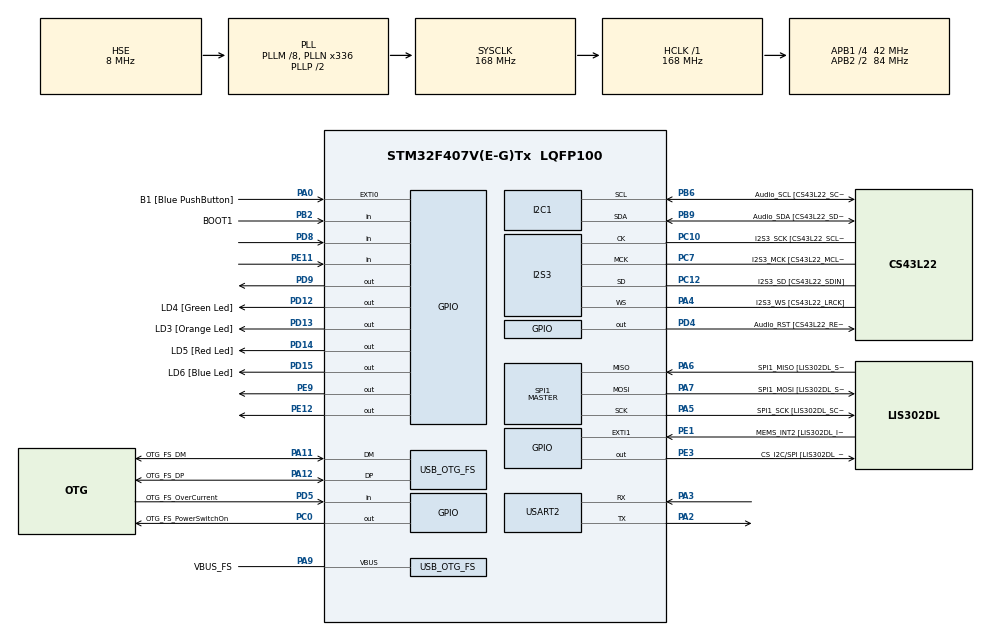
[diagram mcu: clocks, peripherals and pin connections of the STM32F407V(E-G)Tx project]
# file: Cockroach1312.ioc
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I2S3.AudioFreq-Half_Duplex_Master=I2S_AUDIOFREQ_96K
I2S3.ErrorAudioFreq=-2.34 %
I2S3.ErrorAudioFreq-Half_Duplex_Master=0.8 %
I2S3.FullDuplexMode=I2S_FULLDUPLEXMODE_DISABLE
I2S3.Instance=SPI$Index
I2S3.RealAudioFreq=93.75 KHz
I2S3.RealAudioFreq-Half_Duplex_Master=96.774 KHz
I2S3.VirtualMode=I2S_MODE_MASTER
Mcu.Family=STM32F4
Mcu.Name=STM32F407V(E-G)Tx
Mcu.Package=LQFP100
NVIC.OTG_FS_IRQn=true\:0\:0\:false\:false\:true\:true
NVIC.PriorityGroup=NVIC_PRIORITYGROUP_0
NVIC.USART2_IRQn=true\:0\:0\:false\:false\:true\:true
PA0-WKUP.GPIO_Label=B1 [Blue PushButton]
PA0-WKUP.GPIO_ModeDefaultEXTI=GPIO_MODE_EVT_RISING
PA0-WKUP.GPIO_PuPd=GPIO_NOPULL
PA0-WKUP.Signal=GPXTI0
PA10.GPIO_Label=OTG_FS_ID
PA10.GPIO_Mode=GPIO_MODE_AF_PP
PA10.GPIO_PuPd=GPIO_NOPULL
PA10.GPIO_Speed=GPIO_SPEED_FREQ_LOW
PA10.Signal=USB_OTG_FS_ID
PA11.GPIO_Label=OTG_FS_DM
PA11.GPIO_Mode=GPIO_MODE_AF_PP
PA11.GPIO_PuPd=GPIO_NOPULL
PA11.GPIO_Speed=GPIO_SPEED_FREQ_LOW
PA11.Mode=Host_Only
PA11.Signal=USB_OTG_FS_DM
PA12.GPIO_Label=OTG_FS_DP
PA12.GPIO_Mode=GPIO_MODE_AF_PP
PA12.GPIO_PuPd=GPIO_NOPULL
PA12.GPIO_Speed=GPIO_SPEED_FREQ_LOW
PA12.Mode=Host_Only
PA12.Signal=USB_OTG_FS_DP
PA13.GPIO_Label=SWDIO
PA13.Mode=Serial_Wire
PA13.Signal=SYS_JTMS-SWDIO
PA14.GPIO_Label=SWCLK
PA14.Mode=Serial_Wire
PA14.Signal=SYS_JTCK-SWCLK
PA2.Mode=Asynchronous
PA2.Signal=USART2_TX
PA3.Mode=Asynchronous
PA3.Signal=USART2_RX
PA4.GPIO_Label=I2S3_WS [CS43L22_LRCK]
PA4.GPIO_Mode=GPIO_MODE_AF_PP
PA4.GPIO_PuPd=GPIO_NOPULL
PA4.GPIO_Speed=GPIO_SPEED_FREQ_LOW
PA4.Mode=Half_Duplex_Master
PA4.Signal=I2S3_WS
PA5.GPIO_Label=SPI1_SCK [LIS302DL_SCL/SPC]
PA5.GPIO_Mode=GPIO_MODE_AF_PP
PA5.GPIO_PuPd=GPIO_NOPULL
PA5.GPIO_Speed=GPIO_SPEED_FREQ_LOW
PA5.Mode=Full_Duplex_Master
PA5.Signal=SPI1_SCK
PA6.GPIO_Label=SPI1_MISO [LIS302DL_SDO]
PA6.GPIO_Mode=GPIO_MODE_AF_PP
PA6.GPIO_PuPd=GPIO_NOPULL
PA6.GPIO_Speed=GPIO_SPEED_FREQ_LOW
PA6.Mode=Full_Duplex_Master
PA6.Signal=SPI1_MISO
PA7.GPIO_Label=SPI1_MOSI [LIS302DL_SDA/SDI/SDO]
PA7.GPIO_Mode=GPIO_MODE_AF_PP
PA7.GPIO_PuPd=GPIO_NOPULL
PA7.GPIO_Speed=GPIO_SPEED_FREQ_LOW
PA7.Mode=Full_Duplex_Master
PA7.Signal=SPI1_MOSI
PA9.GPIO_Label=VBUS_FS
PA9.GPIO_Mode=GPIO_MODE_INPUT
PA9.GPIO_PuPd=GPIO_NOPULL
PA9.Mode=Activate_VBUS
PA9.Signal=USB_OTG_FS_VBUS
PB10.GPIO_Label=CLK_IN [MP45DT02_CLK]
PB10.GPIO_Mode=GPIO_MODE_AF_PP
PB10.GPIO_PuPd=GPIO_NOPULL
PB10.GPIO_Speed=GPIO_SPEED_FREQ_LOW
PB10.Signal=I2S2_CK
PB2.GPIO_Label=BOOT1
PB2.GPIO_Mode=GPIO_MODE_INPUT
PB2.GPIO_PuPd=GPIO_NOPULL
PB2.Signal=GPIO_Input
PB3.GPIO_Label=SWO
PB3.Signal=SYS_JTDO-SWO
PB6.GPIO_Label=Audio_SCL [CS43L22_SCL]
PB6.GPIO_Mode=GPIO_MODE_AF_OD
PB6.GPIO_PuPd=GPIO_NOPULL
PB6.GPIO_Speed=GPIO_SPEED_FREQ_LOW
PB6.Mode=I2C
PB6.Signal=I2C1_SCL
PB9.GPIO_Label=Audio_SDA [CS43L22_SDA]
PB9.GPIO_Mode=GPIO_MODE_AF_OD
PB9.GPIO_PuPd=GPIO_NOPULL
PB9.GPIO_Speed=GPIO_SPEED_FREQ_LOW
PB9.Mode=I2C
PB9.Signal=I2C1_SDA
PC0.GPIO_Label=OTG_FS_PowerSwitchOn
PC0.GPIO_PuPd=GPIO_NOPULL
PC0.GPIO_Speed=GPIO_SPEED_FREQ_LOW
PC0.PinState=GPIO_PIN_SET
PC0.Signal=GPIO_Output
PC10.GPIO_Label=I2S3_SCK [CS43L22_SCLK]
PC10.GPIO_Mode=GPIO_MODE_AF_PP
PC10.GPIO_PuPd=GPIO_NOPULL
PC10.GPIO_Speed=GPIO_SPEED_FREQ_LOW
PC10.Mode=Half_Duplex_Master
PC10.Signal=I2S3_CK
PC12.GPIO_Label=I2S3_SD [CS43L22_SDIN]
PC12.GPIO_Mode=GPIO_MODE_AF_PP
PC12.GPIO_PuPd=GPIO_NOPULL
PC12.GPIO_Speed=GPIO_SPEED_FREQ_LOW
PC12.Mode=Half_Duplex_Master
PC12.Signal=I2S3_SD
PC14-OSC32_IN.GPIO_Label=PC14-OSC32_IN
PC14-OSC32_IN.Mode=LSE-External-Oscillator
PC14-OSC32_IN.Signal=RCC_OSC32_IN
PC15-OSC32_OUT.GPIO_Label=PC15-OSC32_OUT
PC15-OSC32_OUT.Mode=LSE-External-Oscillator
PC15-OSC32_OUT.Signal=RCC_OSC32_OUT
PC3.GPIO_Label=PDM_OUT [MP45DT02_DOUT]
PC3.GPIO_Mode=GPIO_MODE_AF_PP
PC3.GPIO_PuPd=GPIO_NOPULL
PC3.GPIO_Speed=GPIO_SPEED_FREQ_LOW
PC3.Signal=I2S2_SD
PC7.GPIO_Label=I2S3_MCK [CS43L22_MCLK]
PC7.GPIO_Mode=GPIO_MODE_AF_PP
PC7.GPIO_PuPd=GPIO_NOPULL
PC7.GPIO_Speed=GPIO_SPEED_FREQ_LOW
PC7.Mode=Master_Clock_Activated
PC7.Signal=I2S3_MCK
PD12.GPIO_Label=LD4 [Green Led]
PD12.GPIO_PuPd=GPIO_NOPULL
PD12.GPIO_Speed=GPIO_SPEED_FREQ_LOW
PD12.Signal=GPIO_Output
PD13.GPIO_Label=LD3 [Orange Led]
PD13.GPIO_PuPd=GPIO_NOPULL
PD13.GPIO_Speed=GPIO_SPEED_FREQ_LOW
PD13.Signal=GPIO_Output
PD14.GPIO_Label=LD5 [Red Led]
PD14.GPIO_PuPd=GPIO_NOPULL
PD14.GPIO_Speed=GPIO_SPEED_FREQ_LOW
PD14.Signal=GPIO_Output
PD15.GPIO_Label=LD6 [Blue Led]
PD15.GPIO_PuPd=GPIO_NOPULL
PD15.GPIO_Speed=GPIO_SPEED_FREQ_LOW
PD15.Signal=GPIO_Output
PD4.GPIO_Label=Audio_RST [CS43L22_RESET]
PD4.GPIO_PuPd=GPIO_NOPULL
PD4.GPIO_Speed=GPIO_SPEED_FREQ_LOW
PD4.Signal=GPIO_Output
PD5.GPIO_Label=OTG_FS_OverCurrent
PD5.GPIO_Mode=GPIO_MODE_INPUT
PD5.GPIO_PuPd=GPIO_NOPULL
PD5.Signal=GPIO_Input
PD8.Signal=GPIO_Input
PD9.Signal=GPIO_Output
PE1.GPIO_Label=MEMS_INT2 [LIS302DL_INT2]
PE1.GPIO_ModeDefaultEXTI=GPIO_MODE_EVT_RISING
PE1.GPIO_PuPd=GPIO_NOPULL
PE1.Signal=GPXTI1
PE11.Signal=GPIO_Input
PE12.Signal=GPIO_Output
PE3.GPIO_Label=CS_I2C/SPI [LIS302DL_CS_I2C/SPI]
PE3.GPIO_PuPd=GPIO_NOPULL
PE3.GPIO_Speed=GPIO_SPEED_FREQ_LOW
PE3.Signal=GPIO_Output
PE9.Signal=GPIO_Output
PH0-OSC_IN.GPIO_Label=PH0-OSC_IN
PH0-OSC_IN.Mode=HSE-External-Oscillator
PH0-OSC_IN.Signal=RCC_OSC_IN
PH1-OSC_OUT.GPIO_Label=PH1-OSC_OUT
PH1-OSC_OUT.Mode=HSE-External-Oscillator
PH1-OSC_OUT.Signal=RCC_OSC_OUT
ProjectManager.HeapSize=0x200
ProjectManager.StackSize=0x400
ProjectManager.TargetToolchain=SW4STM32
RCC.48MHZClocksFreq_Value=48000000
RCC.AHBFreq_Value=168000000
RCC.APB1CLKDivider=RCC_HCLK_DIV4
RCC.APB1Freq_Value=42000000
RCC.APB1TimFreq_Value=84000000
RCC.APB2CLKDivider=RCC_HCLK_DIV2
RCC.APB2Freq_Value=84000000
RCC.APB2TimFreq_Value=168000000
RCC.CortexFreq_Value=168000000
RCC.HCLKFreq_Value=168000000
RCC.HSE_VALUE=8000000
RCC.HSI_VALUE=16000000
RCC.PLLM=8
RCC.PLLN=336
RCC.PLLQ=7
RCC.SYSCLKFreq_VALUE=168000000
RCC.SYSCLKSource=RCC_SYSCLKSOURCE_PLLCLK
RCC.VCOOutputFreq_Value=336000000
SPI1.BaudRatePrescaler-Full_Duplex_Master=SPI_BAUDRATEPRESCALER_2
SPI1.CalculateBaudRate-Full_Duplex_Master=42.0 MBits/s
SPI1.Direction=SPI_DIRECTION_2LINES
SPI1.Mode=SPI_MODE_MASTER
SPI1.Mode-Full_Duplex_Master=SPI_MODE_MASTER
SPI1.VirtualType=VM_MASTER
USART2.VirtualMode=VM_ASYNC
USB_HOST.BSP.number=1
USB_HOST.USBH_HandleTypeDef-CDC_FS=hUsbHostFS
USB_HOST.VirtualModeFS=Cdc
USB_HOST0.BSP.STBoard=false
USB_HOST0.BSP.api=Unknown
USB_HOST0.BSP.i2caddr=0
USB_HOST0.BSP.i2creg=0
USB_HOST0.BSP.instance=PC0
USB_HOST0.BSP.ip=GPIO
USB_HOST0.BSP.mode=Output
USB_HOST0.BSP.name=Drive_VBUS_FS
USB_HOST0.BSP.solution=PC0
USB_OTG_FS.VirtualMode=Host_Only
USB_OTG_FS.phy_itface=HCD_PHY_EMBEDDED
VP_USB_HOST_VS_USB_HOST_CDC_FS.Mode=CDC_FS
board=STM32F4DISCOVERY

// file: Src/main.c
/**
  ******************************************************************************
  * @file           : main.c
  * @brief          : Main program body
  ******************************************************************************
  * This notice applies to any and all portions of this file
  * that are not between comment pairs USER CODE BEGIN and
  * USER CODE END. Other portions of this file, whether
  * inserted by the user or by software development tools
  * are owned by their respective copyright owners.
  *
  * Copyright (c) 2018 STMicroelectronics International N.V.
  * All rights reserved.
  *
  * Redistribution and use in source and binary forms, with or without
  * modification, are permitted, provided that the following conditions are met:
  *
  * 1. Redistribution of source code must retain the above copyright notice,
  *    this list of conditions and the following disclaimer.
  * 2. Redistributions in binary form must reproduce the above copyright notice,
  *    this list of conditions and the following disclaimer in the documentation
  *    and/or other materials provided with the distribution.
  * 3. Neither the name of STMicroelectronics nor the names of other
  *    contributors to this software may be used to endorse or promote products
  *    derived from this software without specific written permission.
  * 4. This software, including modifications and/or derivative works of this
  *    software, must execute solely and exclusively on microcontroller or
  *    microprocessor devices manufactured by or for STMicroelectronics.
  * 5. Redistribution and use of this software other than as permitted under
  *    this license is void and will automatically terminate your rights under
  *    this license.
  *
  * THIS SOFTWARE IS PROVIDED BY STMICROELECTRONICS AND CONTRIBUTORS "AS IS"
  * AND ANY EXPRESS, IMPLIED OR STATUTORY WARRANTIES, INCLUDING, BUT NOT
  * LIMITED TO, THE IMPLIED WARRANTIES OF MERCHANTABILITY, FITNESS FOR A
  * PARTICULAR PURPOSE AND NON-INFRINGEMENT OF THIRD PARTY INTELLECTUAL PROPERTY
  * RIGHTS ARE DISCLAIMED TO THE FULLEST EXTENT PERMITTED BY LAW. IN NO EVENT
  * SHALL STMICROELECTRONICS OR CONTRIBUTORS BE LIABLE FOR ANY DIRECT, INDIRECT,
  * INCIDENTAL, SPECIAL, EXEMPLARY, OR CONSEQUENTIAL DAMAGES (INCLUDING, BUT NOT
  * LIMITED TO, PROCUREMENT OF SUBSTITUTE GOODS OR SERVICES; LOSS OF USE, DATA,
  * OR PROFITS; OR BUSINESS INTERRUPTION) HOWEVER CAUSED AND ON ANY THEORY OF
  * LIABILITY, WHETHER IN CONTRACT, STRICT LIABILITY, OR TORT (INCLUDING
  * NEGLIGENCE OR OTHERWISE) ARISING IN ANY WAY OUT OF THE USE OF THIS SOFTWARE,
  * EVEN IF ADVISED OF THE POSSIBILITY OF SUCH DAMAGE.
  *
  ******************************************************************************
  */
#include "main.h"
#include "stm32f4xx_hal.h"
#include "usb_host.h"

I2C_HandleTypeDef hi2c1;

I2S_HandleTypeDef hi2s3;

SPI_HandleTypeDef hspi1;

UART_HandleTypeDef huart2;

/* USER CODE BEGIN PV */
/* Private variables ---------------------------------------------------------*/
float Distance,Distance2;
int i,j,i2,j2;
int limit = 10;
int state = 0;
int state2 = 0;
int nextState = 0;
int nextState2 = 0;
char on[3] = {'o','n','1'};
char off[3] = {'o','f','f'};
int sendState = 1;
/* USER CODE END PV */

void SystemClock_Config(void);
static void MX_GPIO_Init(void);
static void MX_I2C1_Init(void);
static void MX_I2S3_Init(void);
static void MX_SPI1_Init(void);
static void MX_USART2_UART_Init(void);
void MX_USB_HOST_Process(void);

/* USER CODE BEGIN PFP */
/* Private function prototypes -----------------------------------------------*/
void delayUS_DWT(uint32_t us) {
	volatile uint32_t cycles = (SystemCoreClock/1000000L)*us;
	volatile uint32_t start = DWT->CYCCNT;
	do  {
	} while(DWT->CYCCNT - start < cycles);
}

/* USER CODE END PFP */

int main(void)
{

  /* MCU Configuration----------------------------------------------------------*/

  /* Reset of all peripherals, Initializes the Flash interface and the Systick. */
  HAL_Init();

  /* Configure the system clock */
  SystemClock_Config();

  /* Initialize all configured peripherals */
  MX_GPIO_Init();
  MX_I2C1_Init();
  MX_I2S3_Init();
  MX_SPI1_Init();
  MX_USB_HOST_Init();
  MX_USART2_UART_Init();

  /* Infinite loop */
  while (1)
  {
    MX_USB_HOST_Process();

  /* USER CODE BEGIN 3 */

    i = 0;
    HAL_GPIO_WritePin(GPIOD,GPIO_PIN_9,GPIO_PIN_SET);
    delayUS_DWT(2);
    HAL_GPIO_WritePin(GPIOD,GPIO_PIN_9,GPIO_PIN_RESET);
    delayUS_DWT(10);

    while(HAL_GPIO_ReadPin(GPIOD,GPIO_PIN_8) == 0) {

    }

    while(HAL_GPIO_ReadPin(GPIOD,GPIO_PIN_8) == 1) {
        i++;
        delayUS_DWT(1);
    }

    j = i;
    Distance = (float)j*0.0171821*2;

    if(Distance < limit) {
    	HAL_GPIO_WritePin(GPIOD,GPIO_PIN_12,GPIO_PIN_SET);
    	nextState = 1;
    } else {
    	HAL_GPIO_WritePin(GPIOD,GPIO_PIN_12,GPIO_PIN_RESET);
    	nextState = 0;
    }

    i2 = 0;
    HAL_GPIO_WritePin(GPIOE,GPIO_PIN_12,GPIO_PIN_SET);
    delayUS_DWT(2);
    HAL_GPIO_WritePin(GPIOE,GPIO_PIN_12,GPIO_PIN_RESET);
    delayUS_DWT(10);

    while(HAL_GPIO_ReadPin(GPIOE,GPIO_PIN_11) == 0) {

    }

    while(HAL_GPIO_ReadPin(GPIOE,GPIO_PIN_11) == 1) {
        i2++;
        delayUS_DWT(1);
    }

    j2 = i2;
    Distance2 = (float)j2*0.0171821*2;
    if(Distance2 < limit) {
    	HAL_GPIO_WritePin(GPIOD,GPIO_PIN_15,GPIO_PIN_SET);
    	nextState2 = 1;
    } else {
    	HAL_GPIO_WritePin(GPIOD,GPIO_PIN_15,GPIO_PIN_RESET);
    	nextState2 = 0;
    }

    if(nextState==1 || nextState2==1) {
    	HAL_GPIO_WritePin(GPIOE,GPIO_PIN_9,GPIO_PIN_SET);
    } else {
    	HAL_GPIO_WritePin(GPIOE,GPIO_PIN_9,GPIO_PIN_RESET);
    }

    if(state == 0 && nextState == 1 && sendState) {
	    	HAL_UART_Transmit(&huart2,"1",sizeof("1"),100);
    }

    else if(state2 == 0 && nextState2 == 1 && sendState) {
            HAL_UART_Transmit(&huart2,"2",sizeof("2"),100);
    }

    state = nextState;
    state2 = nextState2;

    char pData[3];
    if(HAL_UART_Receive_IT(&huart2,pData,3) == HAL_OK) {

        if(strcmp(on,(char *)pData) == 0) {
        	HAL_GPIO_WritePin(GPIOD,GPIO_PIN_13,1);
        	sendState = 1;
        }
        else if (strcmp(off,(char *)pData) == 0) {
        	HAL_GPIO_WritePin(GPIOD,GPIO_PIN_13,0);
        	sendState = 0;
        }
        else {
        	HAL_GPIO_TogglePin(GPIOD,GPIO_PIN_14);
        }

    }

    HAL_Delay(50);
  }

  /* USER CODE END 3 */

}

void SystemClock_Config(void)
{

  RCC_OscInitTypeDef RCC_OscInitStruct;
  RCC_ClkInitTypeDef RCC_ClkInitStruct;
  RCC_PeriphCLKInitTypeDef PeriphClkInitStruct;

    /**Configure the main internal regulator output voltage
    */
  __HAL_RCC_PWR_CLK_ENABLE();

  __HAL_PWR_VOLTAGESCALING_CONFIG(PWR_REGULATOR_VOLTAGE_SCALE1);

    /**Initializes the CPU, AHB and APB busses clocks
    */
  RCC_OscInitStruct.OscillatorType = RCC_OSCILLATORTYPE_HSE;
  RCC_OscInitStruct.HSEState = RCC_HSE_ON;
  RCC_OscInitStruct.PLL.PLLState = RCC_PLL_ON;
  RCC_OscInitStruct.PLL.PLLSource = RCC_PLLSOURCE_HSE;
  RCC_OscInitStruct.PLL.PLLM = 8;
  RCC_OscInitStruct.PLL.PLLN = 336;
  RCC_OscInitStruct.PLL.PLLP = RCC_PLLP_DIV2;
  RCC_OscInitStruct.PLL.PLLQ = 7;
  if (HAL_RCC_OscConfig(&RCC_OscInitStruct) != HAL_OK)
  {
    _Error_Handler(__FILE__, __LINE__);
  }

    /**Initializes the CPU, AHB and APB busses clocks
    */
  RCC_ClkInitStruct.ClockType = RCC_CLOCKTYPE_HCLK|RCC_CLOCKTYPE_SYSCLK
                              |RCC_CLOCKTYPE_PCLK1|RCC_CLOCKTYPE_PCLK2;
  RCC_ClkInitStruct.SYSCLKSource = RCC_SYSCLKSOURCE_PLLCLK;
  RCC_ClkInitStruct.AHBCLKDivider = RCC_SYSCLK_DIV1;
  RCC_ClkInitStruct.APB1CLKDivider = RCC_HCLK_DIV4;
  RCC_ClkInitStruct.APB2CLKDivider = RCC_HCLK_DIV2;

  if (HAL_RCC_ClockConfig(&RCC_ClkInitStruct, FLASH_LATENCY_5) != HAL_OK)
  {
    _Error_Handler(__FILE__, __LINE__);
  }

  PeriphClkInitStruct.PeriphClockSelection = RCC_PERIPHCLK_I2S;
  PeriphClkInitStruct.PLLI2S.PLLI2SN = 192;
  PeriphClkInitStruct.PLLI2S.PLLI2SR = 2;
  if (HAL_RCCEx_PeriphCLKConfig(&PeriphClkInitStruct) != HAL_OK)
  {
    _Error_Handler(__FILE__, __LINE__);
  }

    /**Configure the Systick interrupt time
    */
  HAL_SYSTICK_Config(HAL_RCC_GetHCLKFreq()/1000);

    /**Configure the Systick
    */
  HAL_SYSTICK_CLKSourceConfig(SYSTICK_CLKSOURCE_HCLK);

  /* SysTick_IRQn interrupt configuration */
  HAL_NVIC_SetPriority(SysTick_IRQn, 0, 0);
}

/* I2C1 init function */
static void MX_I2C1_Init(void)
{

  hi2c1.Instance = I2C1;
  hi2c1.Init.ClockSpeed = 100000;
  hi2c1.Init.DutyCycle = I2C_DUTYCYCLE_2;
  hi2c1.Init.OwnAddress1 = 0;
  hi2c1.Init.AddressingMode = I2C_ADDRESSINGMODE_7BIT;
  hi2c1.Init.DualAddressMode = I2C_DUALADDRESS_DISABLE;
  hi2c1.Init.OwnAddress2 = 0;
  hi2c1.Init.GeneralCallMode = I2C_GENERALCALL_DISABLE;
  hi2c1.Init.NoStretchMode = I2C_NOSTRETCH_DISABLE;
  if (HAL_I2C_Init(&hi2c1) != HAL_OK)
  {
    _Error_Handler(__FILE__, __LINE__);
  }

}

/* I2S3 init function */
static void MX_I2S3_Init(void)
{

  hi2s3.Instance = SPI3;
  hi2s3.Init.Mode = I2S_MODE_MASTER_TX;
  hi2s3.Init.Standard = I2S_STANDARD_PHILIPS;
  hi2s3.Init.DataFormat = I2S_DATAFORMAT_16B;
  hi2s3.Init.MCLKOutput = I2S_MCLKOUTPUT_ENABLE;
  hi2s3.Init.AudioFreq = I2S_AUDIOFREQ_96K;
  hi2s3.Init.CPOL = I2S_CPOL_LOW;
  hi2s3.Init.ClockSource = I2S_CLOCK_PLL;
  hi2s3.Init.FullDuplexMode = I2S_FULLDUPLEXMODE_DISABLE;
  if (HAL_I2S_Init(&hi2s3) != HAL_OK)
  {
    _Error_Handler(__FILE__, __LINE__);
  }

}

/* SPI1 init function */
static void MX_SPI1_Init(void)
{

  /* SPI1 parameter configuration*/
  hspi1.Instance = SPI1;
  hspi1.Init.Mode = SPI_MODE_MASTER;
  hspi1.Init.Direction = SPI_DIRECTION_2LINES;
  hspi1.Init.DataSize = SPI_DATASIZE_8BIT;
  hspi1.Init.CLKPolarity = SPI_POLARITY_LOW;
  hspi1.Init.CLKPhase = SPI_PHASE_1EDGE;
  hspi1.Init.NSS = SPI_NSS_SOFT;
  hspi1.Init.BaudRatePrescaler = SPI_BAUDRATEPRESCALER_2;
  hspi1.Init.FirstBit = SPI_FIRSTBIT_MSB;
  hspi1.Init.TIMode = SPI_TIMODE_DISABLE;
  hspi1.Init.CRCCalculation = SPI_CRCCALCULATION_DISABLE;
  hspi1.Init.CRCPolynomial = 10;
  if (HAL_SPI_Init(&hspi1) != HAL_OK)
  {
    _Error_Handler(__FILE__, __LINE__);
  }

}

/* USART2 init function */
static void MX_USART2_UART_Init(void)
{

  huart2.Instance = USART2;
  huart2.Init.BaudRate = 115200;
  huart2.Init.WordLength = UART_WORDLENGTH_8B;
  huart2.Init.StopBits = UART_STOPBITS_1;
  huart2.Init.Parity = UART_PARITY_NONE;
  huart2.Init.Mode = UART_MODE_TX_RX;
  huart2.Init.HwFlowCtl = UART_HWCONTROL_NONE;
  huart2.Init.OverSampling = UART_OVERSAMPLING_16;
  if (HAL_UART_Init(&huart2) != HAL_OK)
  {
    _Error_Handler(__FILE__, __LINE__);
  }

}

/** Configure pins as
        * Analog
        * Input
        * Output
        * EVENT_OUT
        * EXTI
     PC3   ------> I2S2_SD
     PB10   ------> I2S2_CK
*/
static void MX_GPIO_Init(void)
{

  GPIO_InitTypeDef GPIO_InitStruct;

  /* GPIO Ports Clock Enable */
  __HAL_RCC_GPIOE_CLK_ENABLE();
  __HAL_RCC_GPIOC_CLK_ENABLE();
  __HAL_RCC_GPIOH_CLK_ENABLE();
  __HAL_RCC_GPIOA_CLK_ENABLE();
  __HAL_RCC_GPIOB_CLK_ENABLE();
  __HAL_RCC_GPIOD_CLK_ENABLE();

  /*Configure GPIO pin Output Level */
  HAL_GPIO_WritePin(GPIOE, CS_I2C_SPI_Pin|GPIO_PIN_9|GPIO_PIN_12, GPIO_PIN_RESET);

  /*Configure GPIO pin Output Level */
  HAL_GPIO_WritePin(OTG_FS_PowerSwitchOn_GPIO_Port, OTG_FS_PowerSwitchOn_Pin, GPIO_PIN_SET);

  /*Configure GPIO pin Output Level */
  HAL_GPIO_WritePin(GPIOD, GPIO_PIN_9|LD4_Pin|LD3_Pin|LD5_Pin
                          |LD6_Pin|Audio_RST_Pin, GPIO_PIN_RESET);

  /*Configure GPIO pins : CS_I2C_SPI_Pin PE9 PE12 */
  GPIO_InitStruct.Pin = CS_I2C_SPI_Pin|GPIO_PIN_9|GPIO_PIN_12;
  GPIO_InitStruct.Mode = GPIO_MODE_OUTPUT_PP;
  GPIO_InitStruct.Pull = GPIO_NOPULL;
  GPIO_InitStruct.Speed = GPIO_SPEED_FREQ_LOW;
  HAL_GPIO_Init(GPIOE, &GPIO_InitStruct);

  /*Configure GPIO pin : OTG_FS_PowerSwitchOn_Pin */
  GPIO_InitStruct.Pin = OTG_FS_PowerSwitchOn_Pin;
  GPIO_InitStruct.Mode = GPIO_MODE_OUTPUT_PP;
  GPIO_InitStruct.Pull = GPIO_NOPULL;
  GPIO_InitStruct.Speed = GPIO_SPEED_FREQ_LOW;
  HAL_GPIO_Init(OTG_FS_PowerSwitchOn_GPIO_Port, &GPIO_InitStruct);

  /*Configure GPIO pin : PDM_OUT_Pin */
  GPIO_InitStruct.Pin = PDM_OUT_Pin;
  GPIO_InitStruct.Mode = GPIO_MODE_AF_PP;
  GPIO_InitStruct.Pull = GPIO_NOPULL;
  GPIO_InitStruct.Speed = GPIO_SPEED_FREQ_LOW;
  GPIO_InitStruct.Alternate = GPIO_AF5_SPI2;
  HAL_GPIO_Init(PDM_OUT_GPIO_Port, &GPIO_InitStruct);

  /*Configure GPIO pin : B1_Pin */
  GPIO_InitStruct.Pin = B1_Pin;
  GPIO_InitStruct.Mode = GPIO_MODE_EVT_RISING;
  GPIO_InitStruct.Pull = GPIO_NOPULL;
  HAL_GPIO_Init(B1_GPIO_Port, &GPIO_InitStruct);

  /*Configure GPIO pin : BOOT1_Pin */
  GPIO_InitStruct.Pin = BOOT1_Pin;
  GPIO_InitStruct.Mode = GPIO_MODE_INPUT;
  GPIO_InitStruct.Pull = GPIO_NOPULL;
  HAL_GPIO_Init(BOOT1_GPIO_Port, &GPIO_InitStruct);

  /*Configure GPIO pin : PE11 */
  GPIO_InitStruct.Pin = GPIO_PIN_11;
  GPIO_InitStruct.Mode = GPIO_MODE_INPUT;
  GPIO_InitStruct.Pull = GPIO_NOPULL;
  HAL_GPIO_Init(GPIOE, &GPIO_InitStruct);

  /*Configure GPIO pin : CLK_IN_Pin */
  GPIO_InitStruct.Pin = CLK_IN_Pin;
  GPIO_InitStruct.Mode = GPIO_MODE_AF_PP;
  GPIO_InitStruct.Pull = GPIO_NOPULL;
  GPIO_InitStruct.Speed = GPIO_SPEED_FREQ_LOW;
  GPIO_InitStruct.Alternate = GPIO_AF5_SPI2;
  HAL_GPIO_Init(CLK_IN_GPIO_Port, &GPIO_InitStruct);

  /*Configure GPIO pins : PD8 OTG_FS_OverCurrent_Pin */
  GPIO_InitStruct.Pin = GPIO_PIN_8|OTG_FS_OverCurrent_Pin;
  GPIO_InitStruct.Mode = GPIO_MODE_INPUT;
  GPIO_InitStruct.Pull = GPIO_NOPULL;
  HAL_GPIO_Init(GPIOD, &GPIO_InitStruct);

  /*Configure GPIO pins : PD9 LD4_Pin LD3_Pin LD5_Pin
                           LD6_Pin Audio_RST_Pin */
  GPIO_InitStruct.Pin = GPIO_PIN_9|LD4_Pin|LD3_Pin|LD5_Pin
                          |LD6_Pin|Audio_RST_Pin;
  GPIO_InitStruct.Mode = GPIO_MODE_OUTPUT_PP;
  GPIO_InitStruct.Pull = GPIO_NOPULL;
  GPIO_InitStruct.Speed = GPIO_SPEED_FREQ_LOW;
  HAL_GPIO_Init(GPIOD, &GPIO_InitStruct);

  /*Configure GPIO pin : MEMS_INT2_Pin */
  GPIO_InitStruct.Pin = MEMS_INT2_Pin;
  GPIO_InitStruct.Mode = GPIO_MODE_EVT_RISING;
  GPIO_InitStruct.Pull = GPIO_NOPULL;
  HAL_GPIO_Init(MEMS_INT2_GPIO_Port, &GPIO_InitStruct);

}

void _Error_Handler(char *file, int line)
{
  while(1)
  {
  }
}

/************************ (C) COPYRIGHT STMicroelectronics *****END OF FILE****/
